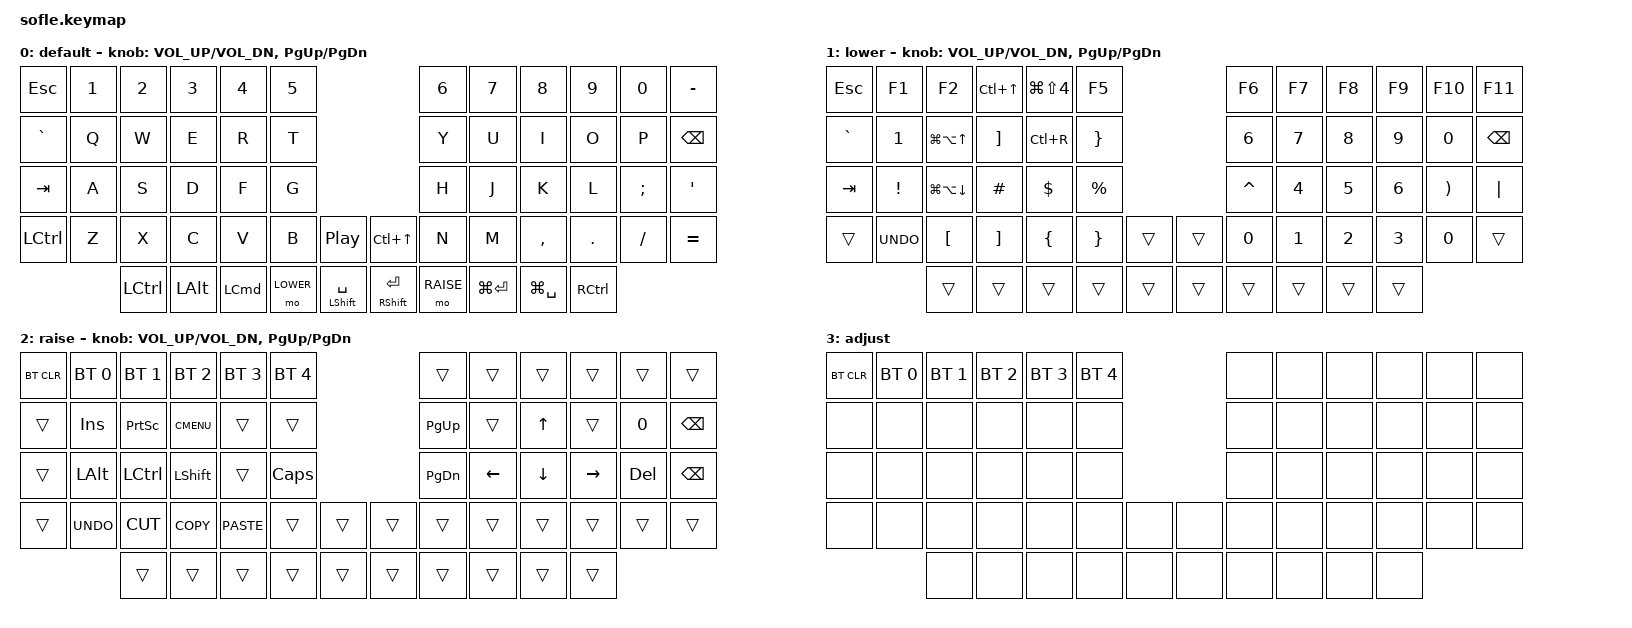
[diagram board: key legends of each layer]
/*
 * Copyright (c) 2020 The ZMK Contributors
 *
 * SPDX-License-Identifier: MIT
 */

#include <behaviors.dtsi>
#include <dt-bindings/zmk/bt.h>
#include <dt-bindings/zmk/keys.h>

// #include <dt-bindings/zmk/rgb.h>
// #include <dt-bindings/zmk/ext_power.h>

#define BASE 0
#define LOWER 1
#define RAISE 2
#define ADJUST 3

/ {
    // Activate ADJUST layer by pressing raise and lower

    conditional_layers {
        compatible = "zmk,conditional-layers";

        adjust_layer {
            if-layers = <LOWER RAISE>;
            then-layer = <ADJUST>;
        };
    };

    keymap {
        compatible = "zmk,keymap";

        default_layer {
            display-name = "default";

            // ---------------------------------------------------------------------------------------------------------------------
            // |  ESC  |  1  |  2  |  3   |  4   |  5   |                   |  6   |  7    |  8    |  9   |   0   |   -   |
            // | GRAVE |  Q  |  W  |  E   |  R   |  T   |                   |  Y   |  U    |  I    |  O   |   P   | BKSPC |
            // |  TAB  |  A  |  S  |  D   |  F   |  G   |                   |  H   |  J    |  K    |  L   |   ;   |   '   |
            // | LCTRL |  Z  |  X  |  C   |  V   |  B   |  PLAY  |  | MSNCTL|  N   |  M    |  ,    |  .   |   /   |   =   |
            //        LCTRL  | ALT | GUI  | LOWER| SH/SP|  |  SH/RET | RAISE| LG(ENT)|LG(SPC)|  RCTRL
            // Encoders: left = volume, right = page up / page down. PLAY / MSNCTL are the encoder clicks.

            bindings = <
&kp ESC    &kp N1  &kp N2  &kp N3    &kp N4            &kp N5                                          &kp N6     &kp N7         &kp N8         &kp N9   &kp N0    &kp MINUS
&kp GRAVE  &kp Q   &kp W   &kp E     &kp R             &kp T                                           &kp Y      &kp U          &kp I          &kp O    &kp P     &kp BSPC
&kp TAB    &kp A   &kp S   &kp D     &kp F             &kp G                                           &kp H      &kp J          &kp K          &kp L    &kp SEMI  &kp SQT
&kp LCTRL  &kp Z   &kp X   &kp C     &kp V             &kp B      &kp C_PLAY_PAUSE   &kp LC(UP)        &kp N      &kp M          &kp COMMA      &kp DOT  &kp FSLH  &kp EQUAL
                 &kp LCTRL  &kp LALT  &kp LEFT_COMMAND  &mo LOWER  &mt LSHFT SPACE    &mt RSHFT RET     &mo RAISE  &kp LG(ENTER)  &kp LG(SPACE)  &kp RCTRL
            >;

            sensor-bindings =
                <&inc_dec_kp C_VOL_UP C_VOL_DN>,
                <&inc_dec_kp PG_UP PG_DN>;
        };

        lower_layer {
            display-name = "lower";

            // ---------------------------------------------------------------------------------------------------------------------
            // |  ESC  |  F1  |  F2   | MSNCTL|G(S(4))|  F5  |                   |  F6  |  F7   |  F8   |  F9  |  F10  |  F11  |
            // | GRAVE |  1   |G(A(UP))|  ]   | C(R) |  }   |                   |  6   |  7    |  8    |  9   |   0   | BKSPC |
            // |  TAB  |  !   |G(A(DN))|  #   |  $   |  %   |                   |  ^   |  4    |  5    |  6   |   )   |   |   |
            // |       | UNDO |  [    |  ]    |  {   |  }   |        |  |       |  0   |  1    |  2    |  3   |   0   |       |
            //                |       |       |      |      |        |  |       |      |       |       |
            // Encoders: left = volume, right = page up / page down.

            bindings = <
&kp ESC    &kp F1      &kp F2                  &kp LC(UP_ARROW)   &kp LG(LS(NUMBER_4))  &kp F5                             &kp F6     &kp F7        &kp F8        &kp F9        &kp F10   &kp F11
&kp GRAVE  &kp N1      &kp LG(LA(UP_ARROW))    &kp RIGHT_BRACKET  &kp LC(R)             &kp RIGHT_BRACE                    &kp N6     &kp N7        &kp N8        &kp N9        &kp N0    &kp BACKSPACE
&kp TAB    &kp EXCL    &kp LG(LA(DOWN_ARROW))  &kp HASH           &kp DLLR              &kp PRCNT                          &kp CARET  &kp NUMBER_4  &kp N5        &kp NUMBER_6  &kp RPAR  &kp PIPE
&trans     &kp K_UNDO  &kp LEFT_BRACKET        &kp RIGHT_BRACKET  &kp LEFT_BRACE        &kp RBRC         &trans    &trans  &kp N0     &kp NUMBER_1  &kp NUMBER_2  &kp NUMBER_3  &kp N0    &trans
                       &trans      &trans             &trans                &trans           &trans    &trans  &trans     &trans        &trans        &trans
            >;

            sensor-bindings =
                <&inc_dec_kp C_VOL_UP C_VOL_DN>,
                <&inc_dec_kp PG_UP PG_DN>;
        };

        raise_layer {
            display-name = "raise";

            // ---------------------------------------------------------------------------------------------------------------------
            // | BTCLR | BT1  | BT2  |  BT3  |  BT4  |  BT5 |                |      |      |       |      |       |       |
            // |       | INS  | PSCR | MENU  |       |      |                | PGUP |      |   ^   |      |   0   | BKSPC |
            // |       | ALT  | CTRL | SHIFT |       | CAPS |                | PGDN |   <- |   v   |  ->  |  DEL  | BKSPC |
            // |       | UNDO | CUT  | COPY  | PASTE |      |      |  |      |      |      |       |      |       |       |
            //                |      |       |       |      |      |  |      |      |      |       |
            // Encoders: left = volume, right = page up / page down.

            bindings = <
&bt BT_CLR  &bt BT_SEL 0  &bt BT_SEL 1  &bt BT_SEL 2  &bt BT_SEL 3  &bt BT_SEL 4                    &trans     &trans    &trans    &trans     &trans   &trans
&trans      &kp INS       &kp PSCRN     &kp K_CMENU   &trans        &trans                          &kp PG_UP  &trans    &kp UP    &trans     &kp N0   &kp BACKSPACE
&trans      &kp LALT      &kp LCTRL     &kp LSHFT     &trans        &kp CLCK                        &kp PG_DN  &kp LEFT  &kp DOWN  &kp RIGHT  &kp DEL  &kp BSPC
&trans      &kp K_UNDO    &kp K_CUT     &kp K_COPY    &kp K_PASTE   &trans        &trans    &trans  &trans     &trans    &trans    &trans     &trans   &trans
                          &trans        &trans        &trans        &trans        &trans    &trans  &trans     &trans    &trans    &trans
            >;

            sensor-bindings =
                <&inc_dec_kp C_VOL_UP C_VOL_DN>,
                <&inc_dec_kp PG_UP PG_DN>;
        };

        adjust_layer {
            // ----------------------------------------------------------------------------------------------------------------------------
            // | BTCLR  |  BT1    |  BT2    |   BT3   |   BT4   |   BT5   |                  |      |      |       |      |       |       |
            // |        |         |         |         |         |         |                  |      |      |       |      |       |       |
            // |        |         |         |         |         |         |                  |      |      |       |      |       |       |
            // |        |         |         |         |         |         |         | |      |      |      |       |      |       |       |
            //                    |         |         |         |         |         | |      |      |      |       |

            display-name = "adjust";
            bindings = <
&bt BT_CLR  &bt BT_SEL 0  &bt BT_SEL 1  &bt BT_SEL 2  &bt BT_SEL 3  &bt BT_SEL 4                  &none  &none  &none  &none  &none  &none
&none       &none         &none         &none         &none         &none                         &none  &none  &none  &none  &none  &none
&none       &none         &none         &none         &none         &none                         &none  &none  &none  &none  &none  &none
&none       &none         &none         &none         &none         &none         &none    &none  &none  &none  &none  &none  &none  &none
                          &none         &none         &none         &none         &none    &none  &none  &none  &none  &none
            >;
        };
    };
};
